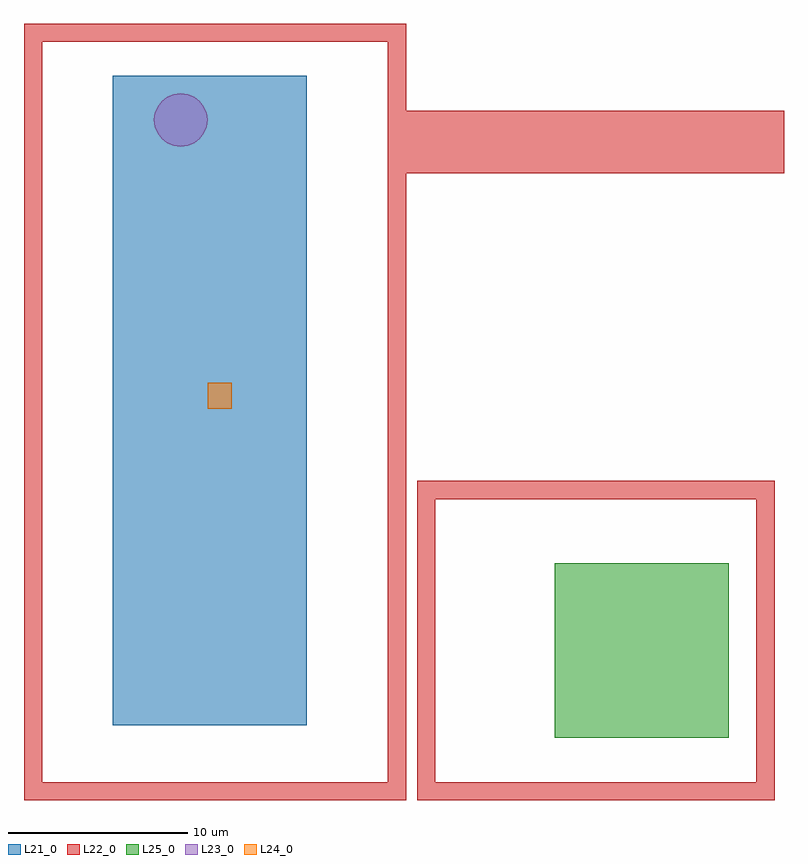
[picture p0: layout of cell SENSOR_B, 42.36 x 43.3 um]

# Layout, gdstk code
import gdstk
lib = gdstk.Library(unit=1e-6, precision=1e-09)
def R(c, l, rs):  # rectangles x0, y0, x1, y1
    for r in rs: c.add(gdstk.rectangle(r[:2], r[2:], *l))
def P(c, l, *ps):  # polygons
    for p in ps: c.add(gdstk.Polygon(p, *l))
L21_0 = (21, 0)
L22_0 = (22, 0)
L23_0 = (23, 0)
L24_0 = (24, 0)
L25_0 = (25, 0)

sensor_b = lib.new_cell('SENSOR_B')
R(sensor_b, L21_0, [(5.455,5.114,16.278,41.335)])
R(sensor_b, L22_0, [(21.818,35.881,42.869,39.375)])
P(sensor_b, L22_0, [(21.818,44.233),(0.511,44.233),(0.511,1.96),(1.534,1.96),(1.534,43.21),(20.795,43.21),(20.795,1.96),(1.534,1.96),(0.511,1.96),(0.511,0.937),(21.818,0.937)],
  [(42.358,18.75),(22.415,18.75),(22.415,1.96),(23.438,1.96),(23.438,17.727),(41.335,17.727),(41.335,1.96),(23.438,1.96),(22.415,1.96),(22.415,0.937),(42.358,0.937)])
P(sensor_b, L23_0, [(10.739,38.864),(10.688,38.478),(10.539,38.118),(10.302,37.809),(9.993,37.572),(9.633,37.423),(9.247,37.372),(8.861,37.423),(8.501,37.572),(8.193,37.809),(7.956,38.118),(7.807,38.478),(7.756,38.864),(7.807,39.25),(7.956,39.609),(8.193,39.918),(8.501,40.155),(8.861,40.304),(9.247,40.355),(9.633,40.304),(9.993,40.155),(10.302,39.918),(10.539,39.609),(10.688,39.25)])
R(sensor_b, L24_0, [(10.739,22.756,12.102,24.205)])
R(sensor_b, L25_0, [(30.085,4.432,39.801,14.148)])

lib.write_gds('SENSOR_B.gds')
